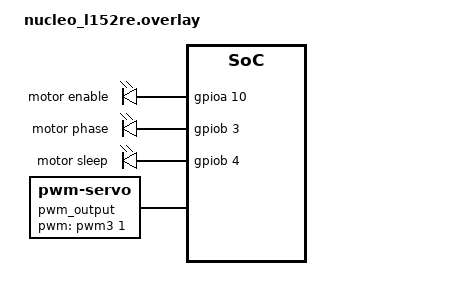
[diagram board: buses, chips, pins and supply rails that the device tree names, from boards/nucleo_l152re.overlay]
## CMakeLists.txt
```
set(BOARD nucleo_l152re)
set(CMAKE_EXPORT_COMPILE_COMMANDS ON)

cmake_minimum_required(VERSION 3.20.0)
find_package(Zephyr REQUIRED HINTS $ENV{ZEPHYR_BASE})
project(AutoSpool)

target_include_directories(app PUBLIC inc)

target_sources(app PRIVATE  src/main.cpp 
                            src/drv8838.cpp 
                            src/gpio.cpp
                            src/heartbeat.cpp
                            src/pwm.cpp
                            src/message_queue.cpp
                            src/shell.cpp)
```

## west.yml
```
manifest:
  version: 0.13

  remotes:
    - name: zephyrproject-rtos
      url-base: https://github.com/zephyrproject-rtos

  projects:
    - name: zephyr
      remote: zephyrproject-rtos
      revision: main
      path: zephyr
      import: true

  self:
    path: AutoSpool
```

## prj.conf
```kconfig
CONFIG_GPIO=y
CONFIG_PWM=y
CONFIG_LOG=y
CONFIG_LOG_DEFAULT_LEVEL=3
CONFIG_LOG_BACKEND_UART=n

CONFIG_SHELL=y
CONFIG_SHELL_PROMPT_UART="nucleo: "
```

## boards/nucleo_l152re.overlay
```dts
// nucleo_l152re.dts
/ {
	aliases {
		enable0 = &motor_enable;
		phase0 = &motor_phase;
		sleep0 = &motor_sleep;
	};

	outputs: outputs {
		compatible = "gpio-leds";

		motor_enable: enable {
			gpios = <&gpioa 10 GPIO_ACTIVE_HIGH>;
			label = "motor enable";
		};
		motor_phase: phase {
			gpios = <&gpiob 3 GPIO_ACTIVE_HIGH>;
			label = "motor phase";
		};
		motor_sleep: sleep {
			gpios = <&gpiob 4 GPIO_ACTIVE_HIGH>;
			label = "motor sleep";
		};
	};

	pwm_output: pwm_output {
		compatible = "pwm-servo";
		pwms = <&pwm3 1 PWM_USEC(10) PWM_POLARITY_NORMAL>;
		min-pulse = <PWM_USEC(0)>;
		max-pulse = <PWM_USEC(10)>;
	};
};	
```

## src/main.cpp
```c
/**
 * @file main.cpp
 * @brief Main file
 *
 * @author William Stoeffhaas
 * @date 4/2/26
 */

#include <stdio.h>
#include <zephyr/kernel.h>
#include <zephyr/logging/log.h>
#include <zephyr/drivers/gpio.h>

#include "main.hpp"

LOG_MODULE_REGISTER(main);

int main(void)
{
	heartbeat_init();
	message_queue_init();

	if (!gpio_init())
	{
		LOG_ERR("GPIO init failed");
	}

    PololuDriver pololu_driver(enable_pin, phase_pin, sleep_pin, pwm);
	Motor<PololuDriver> driver(pololu_driver);
	pololu_driver.init();

	motor_msg_t msg;
	while (true) 
	{
		k_msgq_get(&motor_msgq, &msg, K_FOREVER);
		switch (msg.data_type)
		{
			case MOTOR_MOVE:
				driver.move(static_cast<Motor_Direction>(msg.data));
				break;
			case MOTOR_SPEED:
				driver.setSpeed(msg.data);
				break;
			case MOTOR_SLEEP:
				driver.sleep();
				break;
			default:
				LOG_ERR("Invalid Command: %d", msg.data_type);
		}
	}
	return 0;
}
```

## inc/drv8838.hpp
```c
#pragma once

#include <cstdint>
#include <zephyr/drivers/gpio.h>
#include <zephyr/drivers/pwm.h>

#include "motor_types.hpp"

class PololuDriver
{
    public:
        PololuDriver(   const struct gpio_dt_spec enable_pin, 
                        const struct gpio_dt_spec phase_pin, 
                        const struct gpio_dt_spec sleep_pin,
                        const struct pwm_dt_spec pwm_pin);
        ~PololuDriver();

        void init();
        void enable();
        void disable();
        void setSpeed(uint32_t speed);
        void setDirection(Motor_Direction direction);
        void moveForward();
        void moveBackward();
        void sleep();
        void wake();

    private:
        Motor_State state_;
        uint8_t id_;
        uint8_t speed_;
        const struct gpio_dt_spec enable_pin_;
        const struct gpio_dt_spec phase_pin_;
        const struct gpio_dt_spec sleep_pin_;
        const struct pwm_dt_spec pwm_pin_;

};
```

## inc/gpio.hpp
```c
#pragma once

#include <zephyr/drivers/gpio.h>

extern const struct gpio_dt_spec enable_pin;
extern const struct gpio_dt_spec phase_pin;
extern const struct gpio_dt_spec sleep_pin;

int gpio_init();
int led_init();
int output_init();
int toggle_device_led();
```

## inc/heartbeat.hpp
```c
/**
 * @file heartbeat.hpp
 * @brief Header file for heartbeat.cpp
 *
 * Exposes heartbeat_init()
 *
 * @author William Stoeffhaas
 * @date 3/28/26
 */

int heartbeat_init();
```

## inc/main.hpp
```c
/**
 * @file main.hpp
 * @brief Header file for main.cpp
 *
 * @author William Stoeffhaas
 * @date 4/2/26
 */

#pragma once

#include "motor.hpp"
#include "motor_types.hpp"
#include "drv8838.hpp"
#include "gpio.hpp"
#include "heartbeat.hpp"
#include "pwm.hpp"
#include "message_queue.hpp"
```

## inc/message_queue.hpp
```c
/**
 * @file message_queue.hpp
 * @brief Header file for message_queue.cpp
 *
 * @author William Stoeffhaas
 * @date 3/28/26
 */

#pragma once

extern struct k_msgq motor_msgq;

enum Motor_Msg_Data_t: uint8_t
{
    MOTOR_SPEED = 0x00,
    MOTOR_MOVE,
    MOTOR_SLEEP,
    MOTOR_DATA_ERROR
};

struct motor_msg_t
{
    Motor_Msg_Data_t data_type;
    uint32_t data;
};

/**
 * @brief Initialize message queues
 */
void message_queue_init();
```

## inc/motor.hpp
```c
/**
 * @file motor.hpp
 * @brief Motor template class
 *
 * @author William Stoeffhaas
 * @date 4/2/26
 */

#pragma once

#include <zephyr/logging/log.h>

#include "motor_types.hpp"

template <typename Driver> class Motor
{
    public:
        enum Motor_Error: uint8_t
        {
            MOTOR_NO_ERROR = 0x00,
            MOTOR_ERROR
        };

        explicit Motor(Driver& driver)
            : _driver(driver)
        {
            LOG_MODULE_DECLARE(main);
            LOG_INF("Motor constructor'd");
        }

        void init()
        {
            LOG_MODULE_DECLARE(main);
            LOG_INF("Motor init'd");
            _driver.init();
        }

        void setSpeed(uint32_t speed)
        {
            LOG_MODULE_DECLARE(main);
            LOG_INF("Motor Set Speed");
            _driver.setSpeed(speed);
        }

        void setDirection(Motor_Direction direction)
        {
            LOG_MODULE_DECLARE(main);
            LOG_INF("Motor Set Direction");
            uint8_t dir;
            if (direction == MOTOR_FORWARD)
            {
                dir = 1;
            }
            else if (direction == MOTOR_BACKWARD)
            {
                dir = 0;
            }
            else
            {
                LOG_INF("Motor Direction Error: %d", static_cast<uint8_t>(direction));
                return;
            }

            _driver.setDirection(dir);
        }

        int move(Motor_Direction direction)
        {
            LOG_MODULE_DECLARE(main);
            LOG_INF("Motor Move");
            int ret = 0;
            if (direction == MOTOR_FORWARD)
            {
                moveForward();
            }
            else if (direction == MOTOR_BACKWARD)
            {
                moveBackward();
            }
            else
            {
                LOG_ERR("Invalid Direction: %d", direction);
                ret = 1;
            }
            return ret;
        }

        void moveForward()
        {
            LOG_MODULE_DECLARE(main);
            LOG_INF("Motor Move Forward");
            _driver.moveForward();
        }

        void moveBackward()
        {
            LOG_MODULE_DECLARE(main);
            LOG_INF("Motor Move Backward");
            _driver.moveBackward();
        }

        void sleep()
        {
            LOG_MODULE_DECLARE(main);
            LOG_INF("Motor Sleep");
            _driver.sleep();
        }

        void wake()
        {
            LOG_MODULE_DECLARE(main);
            LOG_INF("Motor Wake");
            _driver.wake();
        }

    private:
        Driver& _driver;
};
```

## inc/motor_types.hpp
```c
/**
 * @file motor_types.hpp
 * @brief Motor types
 * 
 * Contains shared enums for motor types
 *
 * @author William Stoeffhaas
 * @date 4/4/26
 */

#pragma once

enum Motor_Direction: uint8_t
{
    MOTOR_FORWARD = 0x00,
    MOTOR_BACKWARD,
    MOTOR_DIRECTION_ERROR
};

enum Motor_State: uint8_t
{
    MOTOR_IDLE = 0x00,
    MOTOR_STOPPED,
    MOTOR_MOVING,
    MOTOR_UNKNOWN
};
```

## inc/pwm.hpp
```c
#pragma once

#include <zephyr/drivers/pwm.h>

extern const struct pwm_dt_spec pwm;
```

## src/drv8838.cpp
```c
#include <stdio.h>
#include <zephyr/logging/log.h>
#include <zephyr/drivers/pwm.h>

#include "drv8838.hpp"

LOG_MODULE_REGISTER(pololu_driver);

PololuDriver::PololuDriver( const struct gpio_dt_spec enable_pin,
                            const struct gpio_dt_spec phase_pin,
                            const struct gpio_dt_spec sleep_pin,
                            const struct pwm_dt_spec pwm_pin):
    enable_pin_(enable_pin), phase_pin_(phase_pin), sleep_pin_(sleep_pin), pwm_pin_(pwm_pin) 
{
    LOG_INF("pololu constructor'd");
    state_ = MOTOR_UNKNOWN;
}

PololuDriver::~PololuDriver(){}

void PololuDriver::init()
{
    LOG_INF("Pololu Init");
    state_ = MOTOR_IDLE;
    speed_ = 0;
}

void PololuDriver::enable()
{
    if(state_ == MOTOR_UNKNOWN)
    {
        LOG_ERR("Motor in UNKNOWN state");
        return;
    }

    LOG_INF("Enable Driver");
    int ret = pwm_set_pulse_dt(&pwm_pin_, PWM_USEC(speed_));
    wake();
    state_ == MOTOR_MOVING;
}

void PololuDriver::disable()
{
    if(state_ == MOTOR_UNKNOWN)
    {
        LOG_ERR("Motor in UNKNOWN state");
        return;
    }
    LOG_INF("Disable Driver");
    int ret = pwm_set_pulse_dt(&pwm_pin_, PWM_USEC(0));
    state_ = MOTOR_STOPPED;
}


/**
 * @brief Set the duty cycle in microseconds.
 *
 * @param speed On time or duty cycle (in microseconds) set to the PWM.
 *
 * @return Nothing yet
 *
 */
void PololuDriver::setSpeed(uint32_t speed)
{
    if(state_ == MOTOR_UNKNOWN)
    {
        LOG_ERR("Motor in UNKNOWN state");
        return;
    }
    speed_ = speed;
    LOG_INF("Setting on time to %dus", speed_);
    if (state_ == MOTOR_MOVING)
    {
        enable();
    }
}

void PololuDriver::setDirection(Motor_Direction direction)
{
    LOG_INF("Set Direction");
    gpio_pin_set_dt(&phase_pin_, direction);
}

void PololuDriver::moveForward()
{
    if(state_ == MOTOR_UNKNOWN)
    {
        LOG_ERR("Motor in UNKNOWN state");
        return;
    }
    LOG_INF("Moving Forward");
    disable();
    setDirection(MOTOR_FORWARD);
    enable();
    state_ = MOTOR_MOVING;
}

void PololuDriver::moveBackward()
{
    if(state_ == MOTOR_UNKNOWN)
    {
        LOG_ERR("Motor in UNKNOWN state");
        return;
    }
    LOG_INF("Moving Backward");
    disable();
    setDirection(MOTOR_BACKWARD);
    enable();
    state_ = MOTOR_MOVING;

}

void PololuDriver::sleep()
{
    if(state_ == MOTOR_UNKNOWN)
    {
        LOG_ERR("Motor in UNKNOWN state");
        return;
    }
    LOG_INF("Sleep");
    gpio_pin_set_dt(&sleep_pin_, 0);
    state_ = MOTOR_IDLE;
}

void PololuDriver::wake()
{
    if(state_ == MOTOR_UNKNOWN)
    {
        LOG_ERR("Motor in UNKNOWN state");
        return;
    }
    LOG_INF("Wake");
    gpio_pin_set_dt(&sleep_pin_, 1);
    state_ = MOTOR_MOVING;
}
```

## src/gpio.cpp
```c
#include "gpio.hpp"

#define LED0_NODE DT_ALIAS(led0)
#define ENABLE_OUTPUT DT_ALIAS(enable0)
#define PHASE_OUTPUT DT_ALIAS(phase0)
#define SLEEP_OUTPUT DT_ALIAS(sleep0)

static const struct gpio_dt_spec led = GPIO_DT_SPEC_GET(LED0_NODE, gpios);
const struct gpio_dt_spec enable_pin = GPIO_DT_SPEC_GET(ENABLE_OUTPUT, gpios);
const struct gpio_dt_spec phase_pin = GPIO_DT_SPEC_GET(PHASE_OUTPUT, gpios);
const struct gpio_dt_spec sleep_pin = GPIO_DT_SPEC_GET(SLEEP_OUTPUT, gpios);

int led_init()
{
	int ret = 0;
    if (!gpio_is_ready_dt(&led)) 
    {
		return 0;
	}

	ret = gpio_pin_configure_dt(&led, GPIO_OUTPUT_ACTIVE);
	if (ret < 0) {
		return 0;
	}
    return 1;
}

int output_init()
{
	int ret = 0;
    if (!gpio_is_ready_dt(&enable_pin)) 
    {
		return 0;
	}

	ret = gpio_pin_configure_dt(&enable_pin, GPIO_OUTPUT_ACTIVE);
	if (ret < 0) {
		return 0;
	}

    if (!gpio_is_ready_dt(&phase_pin)) 
    {
		return 0;
	}

	ret = gpio_pin_configure_dt(&phase_pin, GPIO_OUTPUT_ACTIVE);
	if (ret < 0) {
		return 0;
	}

	if (!gpio_is_ready_dt(&sleep_pin)) 
    {
		return 0;
	}

	ret = gpio_pin_configure_dt(&sleep_pin, GPIO_OUTPUT_ACTIVE);
	if (ret < 0) {
		return 0;
	}

    return 1;
}

int gpio_init()
{
	int ret = 0;
	ret = output_init();
	ret |= led_init();
	return ret;
}

int toggle_device_led()
{
	int ret;
	ret = gpio_pin_toggle_dt(&led);
	return ret;
}
```

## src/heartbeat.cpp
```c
/**
 * @file heartbeat.cpp
 * @brief Setup thread for heatrbeat LED
 *
 * Create and start a thread to toggle a heartbeat LED
 *
 * @author William Stoeffhaas
 * @date 3/28/26
 */

#include <zephyr/kernel.h>
#include <zephyr/logging/log.h>

#include "gpio.hpp"

LOG_MODULE_REGISTER(heartbeat);

static constexpr uint32_t HEARTBEAT_THREAD_STACK_SIZE = 500;
static constexpr uint8_t HEARTBEAT_THREAD_PRIORITY = 5;
static constexpr uint32_t HEARTBEAT_DELAY_MS = 300;

K_THREAD_STACK_DEFINE(heartbeat_stack_area, HEARTBEAT_THREAD_STACK_SIZE);
struct k_thread heartbeat_thread;

static void heartbeat_entry(void*, void*, void*)
{
	for(;;)
	{
		if (toggle_device_led())
		{
			LOG_ERR("Heartbeat error");
		}
		k_sleep(K_MSEC(HEARTBEAT_DELAY_MS));
	}
}

void heartbeat_init()
{
    LOG_INF("Starting Heartbeat");
    k_tid_t heartbeat_tid = k_thread_create(&heartbeat_thread, heartbeat_stack_area, K_THREAD_STACK_SIZEOF(heartbeat_stack_area),
                                            heartbeat_entry, NULL, NULL, NULL,
                                            HEARTBEAT_THREAD_PRIORITY, 0, K_NO_WAIT);
}
```

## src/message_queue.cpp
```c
/**
 * @file message_queue.cpp
 * @brief 
 *
 * @author William Stoeffhaas
 * @date 3/28/26
 */

#include <zephyr/kernel.h>
#include <zephyr/logging/log.h>

#include "message_queue.hpp"
#include "motor.hpp"

LOG_MODULE_REGISTER(msgq);

static constexpr uint8_t MOTOR_MSGQ_SIZE_MAX = 10;

struct k_msgq motor_msgq;

char motor_msgq_buffer[MOTOR_MSGQ_SIZE_MAX * sizeof(struct motor_msg_t)];

void message_queue_init()
{
    LOG_INF("Message Queue Init");
    k_msgq_init(&motor_msgq, motor_msgq_buffer, sizeof(struct motor_msg_t), MOTOR_MSGQ_SIZE_MAX);
 }
```
